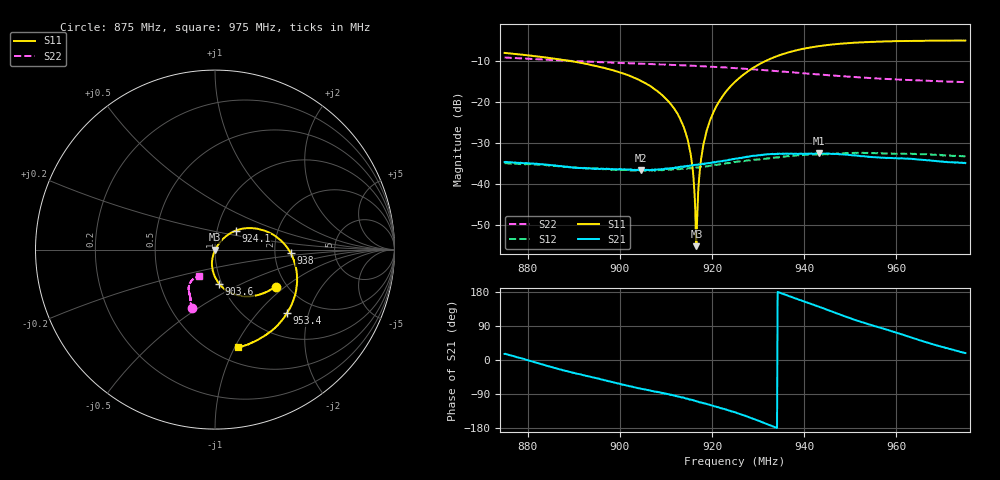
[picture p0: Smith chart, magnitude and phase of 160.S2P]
! C:\Users\rflab\Downloads\Lab5_KD_ZW\Q3\160.S2P
! Touchstone 1.1 file saved by VNA.EXE V1.65 (www.ke5fx.com/gpib/readme.htm)
! 11/18/2024 10:30:00 PM
!  Source: HEWLETT PACKARD,8753D,0,6.14
!  Min freq: 8.750000E+008 Hz
!  Max freq: 9.750200E+008 Hz
!  Points: 801
!  Params: S11 S21 S12 S22
# GHZ S MA R 50
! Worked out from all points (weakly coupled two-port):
!   801 points, 875 MHz to 975 MHz, reference 50 ohm
!   highest |S21| = -32.54 dB at 943.1 MHz (marker M1); lowest = -36.7 dB at 904.5 MHz (marker M2)
!   lowest |S11| = -55.2 dB at 916.6 MHz (marker M3), VSWR 1.00, Z = 50.2 - j0.0591 ohm
!   |S11| at or under -10 dB: 889.1 MHz to 931.7 MHz (42.55 MHz wide, 4.67 % of centre)
!   |S22| runs from -15.2 to -9.2 dB; largest |S21 - S12| = 0.0061
!   S11 on the Smith chart (normalised r, x): 875 MHz: 1.76, -0.86; 903.6 MHz: 0.97, -0.39; 924.1 MHz: 1.23, +0.27; 938 MHz: 2.45, -0.11; 953.4 MHz: 1.47, -1.46; 975 MHz: 0.65, -1.03
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0.875  0.3959 -31.3  0.01853 16.1  0.01793 25.8  0.3482 -111.9
0.8917534  0.2981 -60.2  0.01564 -38.8  0.01577 -32.8  0.3121 -115.9
0.9036307  0.1921 -83.0  0.01486 -73.2  0.01464 -68.7  0.2939 -118.4
0.9045059  0.1816 -84.9  0.01466 -75.5  0.01462 -71.4  0.2925 -118.6
0.9083817  0.1323 -93.5  0.01501 -84.5  0.01469 -81.6  0.2873 -119.7
0.9120074  0.07966 -102.4  0.01591 -93.8  0.01506 -92.2  0.2822 -120.5
0.9142579  0.04286 -107.2  0.01633 -101.5  0.0155 -98.5  0.2787 -121.4
0.9155081  0.02073 -108.4  0.01682 -104.9  0.01575 -101.8  0.2765 -121.6
0.9162583  0.007077 -102.0  0.01711 -107.3  0.01586 -104.4  0.2757 -121.8
0.9166333  0.001747 -19.7  0.01709 -109.0  0.01587 -106.0  0.2743 -122.0
0.9170084  0.007796 51.8  0.01716 -110.0  0.01584 -106.4  0.2736 -122.1
0.9177585  0.022 56.4  0.01736 -112.1  0.01615 -109.0  0.2725 -122.3
0.9188838  0.04502 56.3  0.0179 -115.6  0.01647 -112.0  0.2705 -122.8
0.9210092  0.0894 51.1  0.01864 -124.0  0.01705 -118.6  0.2659 -123.3
0.9241348  0.1568 42.5  0.01981 -135.5  0.01826 -129.5  0.26 -124.3
0.92501  0.1758 39.6  0.02024 -138.1  0.01846 -133.6  0.258 -124.6
0.9380126  0.4214 -2.6  0.02338 163.1  0.02217 174.9  0.2281 -126.8
0.9417633  0.4645 -13.4  0.02345 146.9  0.02295 158.6  0.2196 -126.9
0.9431386  0.4773 -17.2  0.02362 141.1  0.02288 152.7  0.2165 -127.0
0.9533907  0.5344 -41.5  0.02159 96.9  0.02382 109.2  0.1969 -125.5
0.9583917  0.5486 -51.1  0.02083 78.4  0.02341 88.5  0.1898 -124.6
0.97502  0.5599 -76.7  0.01799 18.2  0.02172 22.4  0.1744 -121.0
